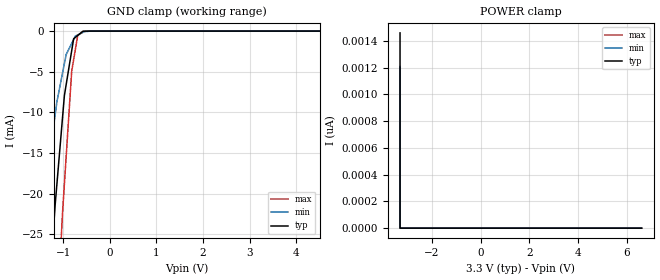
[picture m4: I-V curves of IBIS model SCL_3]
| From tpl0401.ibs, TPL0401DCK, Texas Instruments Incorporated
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[Model]   SCL_3
Model_type   Input
Vinl = 0.99
Vinh = 2.31
|   typ   min   max
|   Nom   Strong   Weak
C_comp   1.28145e-12  1.11095e-12  1.41767e-12
[Model Spec]
Vinl   0.81V   0.99V   1.08V
Vinh   1.89V   2.31V   2.52V
[Voltage Range]   3.3   2.7   3.6
[Temperature Range]   27   125   -40
[Power Clamp Reference]   3.3   2.7   3.6
[GND Clamp Reference]   -0   -0   -0
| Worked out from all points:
|   GND clamp passes 1 mA (typ) near -0.78 V on its own axis
[GND Clamp]
|   Voltage   I(typ)   I(min)   I(max)
-3.3V     -243.7mA   -154.3mA   -314.1mA
-1.53V    -53.14mA   -27.16mA   -84.95mA
-1.411V   -41.97mA   -21.11mA   -69.79mA
-1.213V   -24.88mA   -12.05mA   -45.27mA
-1.134V   -18.82mA   -8.706mA   -36.18mA
-1.015V   -10.76mA   -5.215mA   -22.53mA
-973.4mV  -7.926mA   -3.989mA   -18.82mA
-817.1mV  -2.42mA    -1.519mA   -4.95mA
-775.3mV  -949uA     -1.038mA   -3.526mA
-687.9mV  -538.8uA   -470uA     -542.4uA
-577.4mV  -20.7uA    -168.4uA   -99.66uA
6.6V      0A         0A         0A
[POWER Clamp]
|   Voltage   I(typ)   I(min)   I(max)
-3.3V     1.459nA    1.207nA    1.2nA
-3.3V     0A         0A         0A
-3.3V     0A         0A         0A
6.6V      0A         0A         0A
